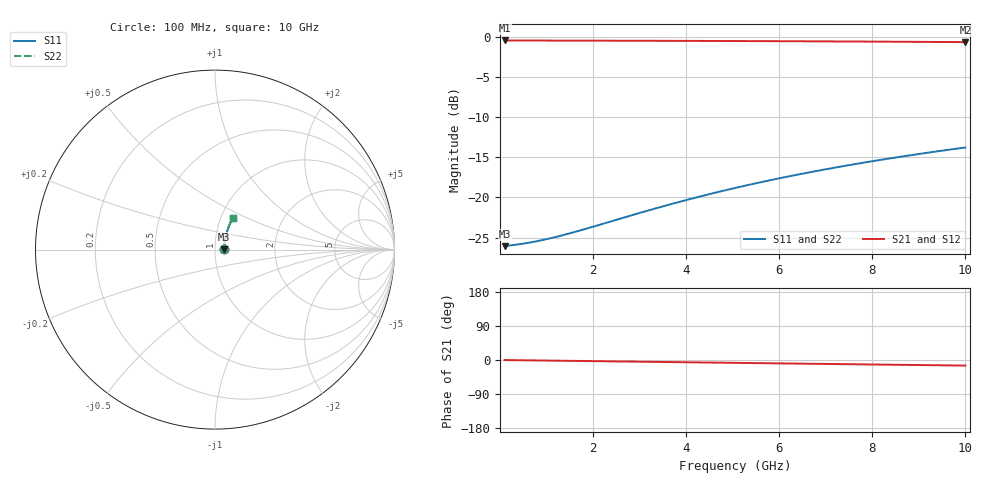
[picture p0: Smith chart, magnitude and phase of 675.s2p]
# Hz S RI R 50.00
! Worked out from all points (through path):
!   100 points, 100 MHz to 10 GHz, reference 50 ohm
!   highest |S21| = -0.44 dB at 100 MHz (marker M1); lowest = -0.6 dB at 10 GHz (marker M2)
!   group delay of S21, straight-line fit = 4.1 ps
!   lowest |S11| = -26.1 dB at 100 MHz (marker M3), VSWR 1.10, Z = 55.2 + j0.211 ohm
!   |S11| at or under -10 dB: start of sweep to end of sweep
!   |S22| runs from -26.1 to -13.8 dB; largest |S21 - S12| = 0
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1e8  0.0496 0.0019  0.9504 -0.00248  0.9504 -0.00248  0.0496 0.0019
5e8  0.0506 0.0095  0.9494 -0.0124  0.9494 -0.0124  0.0506 0.0095
7e8  0.051 0.0133  0.949 -0.0173  0.949 -0.0173  0.051 0.0133
9e8  0.0514 0.0171  0.9486 -0.0223  0.9486 -0.0223  0.0514 0.0171
1.1e9  0.0517 0.0209  0.9482 -0.0272  0.9482 -0.0272  0.0517 0.0209
1.3e9  0.0521 0.0246  0.9478 -0.0321  0.9478 -0.0321  0.0521 0.0246
1.5e9  0.0525 0.0284  0.9474 -0.0371  0.9474 -0.0371  0.0525 0.0284
1.8e9  0.0532 0.034  0.9467 -0.0445  0.9467 -0.0445  0.0532 0.034
2.9e9  0.0562 0.0546  0.9436 -0.0714  0.9436 -0.0714  0.0562 0.0546
3.4e9  0.058 0.0639  0.9418 -0.0836  0.9418 -0.0836  0.058 0.0639
3.9e9  0.0599 0.0731  0.9398 -0.0957  0.9398 -0.0957  0.0599 0.0731
4.3e9  0.0616 0.0804  0.9381 -0.1053  0.9381 -0.1053  0.0616 0.0804
4.7e9  0.0634 0.0877  0.9361 -0.1149  0.9361 -0.1149  0.0634 0.0877
5.1e9  0.0654 0.0949  0.9341 -0.1245  0.9341 -0.1245  0.0654 0.0949
5.5e9  0.0676 0.1021  0.9319 -0.134  0.9319 -0.134  0.0676 0.1021
5.9e9  0.0698 0.1092  0.9295 -0.1434  0.9295 -0.1434  0.0698 0.1092
6.3e9  0.0723 0.1163  0.927 -0.1528  0.927 -0.1528  0.0723 0.1163
6.7e9  0.0748 0.1233  0.9244 -0.1621  0.9244 -0.1621  0.0748 0.1233
7.5e9  0.0803 0.137  0.9187 -0.1805  0.9187 -0.1805  0.0803 0.137
8.4e9  0.0871 0.1522  0.9116 -0.2009  0.9116 -0.2009  0.0871 0.1522
9.2e9  0.0937 0.1653  0.9048 -0.2187  0.9048 -0.2187  0.0937 0.1653
1e10  0.1008 0.1781  0.8975 -0.2361  0.8975 -0.2361  0.1008 0.1781
